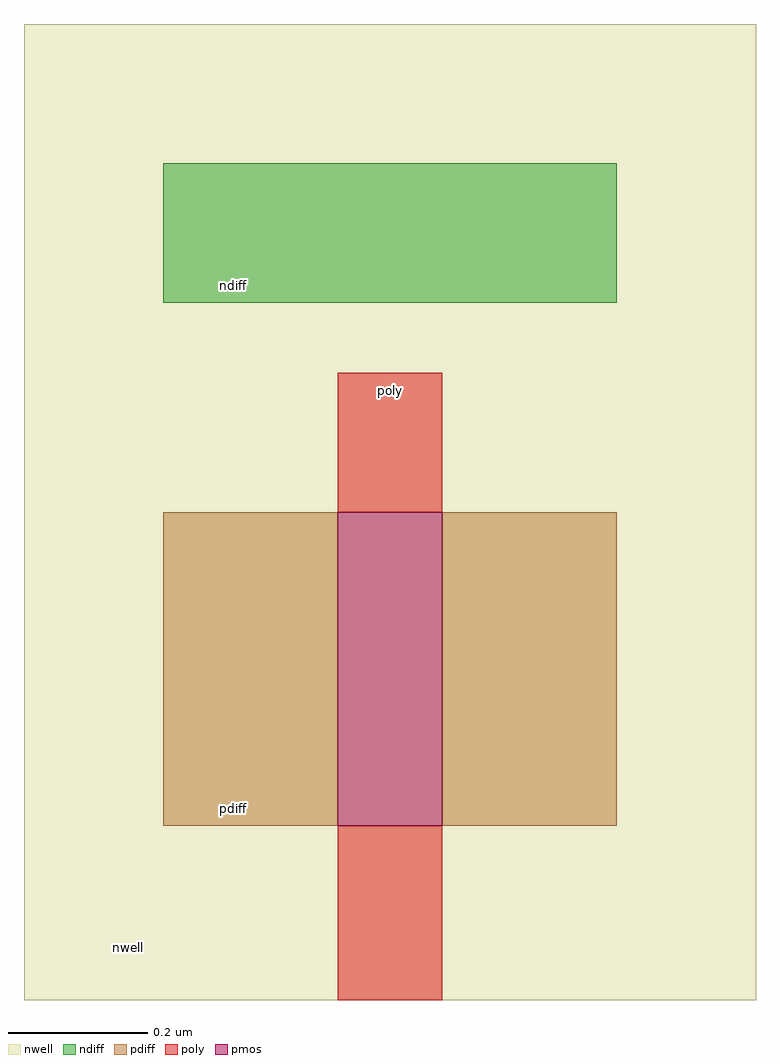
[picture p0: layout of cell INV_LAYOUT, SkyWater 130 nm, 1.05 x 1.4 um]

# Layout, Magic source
magic
tech sky130A
magscale 1 2
<< nwell >>
rect -100 -50 110 230
<< pmos >>
rect -10 0 20 90
<< ndiff >>
rect -60 150 70 190
<< pdiff >>
rect -60 0 -10 90
rect 20 0 70 90
<< poly >>
rect -10 90 20 130
rect -10 -50 20 0
<< labels >>
flabel nwell -90 -40 -50 -30 0 FreeSans 80 0 0 0 nwell
flabel pdiff -60 0 -20 10 0 FreeSans 80 0 0 0 pdiff
flabel poly -10 120 20 130 0 FreeSans 80 0 0 0 poly
flabel ndiff -60 150 -20 160 0 FreeSans 80 0 0 0 ndiff
<< end >>
